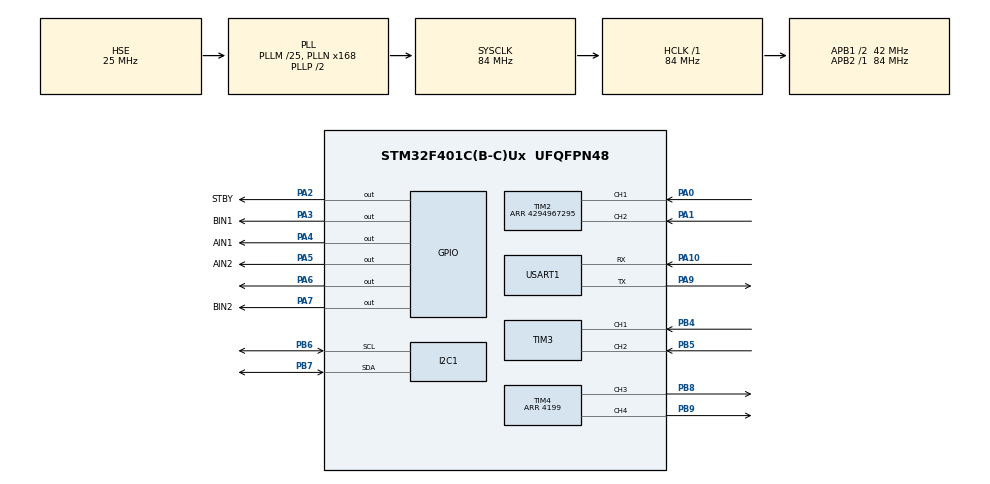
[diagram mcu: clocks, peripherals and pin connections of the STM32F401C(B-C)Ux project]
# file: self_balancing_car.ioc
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I2C1.I2C_Mode=I2C_Fast
Mcu.Family=STM32F4
Mcu.Name=STM32F401C(B-C)Ux
Mcu.Package=UFQFPN48
NVIC.PriorityGroup=NVIC_PRIORITYGROUP_4
NVIC.TIM1_UP_TIM10_IRQn=true\:0\:0\:false\:false\:true\:true\:true\:true
NVIC.USART1_IRQn=true\:0\:0\:false\:false\:true\:true\:true\:true
PA0-WKUP.Signal=S_TIM2_CH1_ETR
PA1.Signal=S_TIM2_CH2
PA10.Mode=Asynchronous
PA10.Signal=USART1_RX
PA13.Mode=Serial_Wire
PA13.Signal=SYS_JTMS-SWDIO
PA14.Mode=Serial_Wire
PA14.Signal=SYS_JTCK-SWCLK
PA4.GPIO_Label=AIN1
PA3.GPIO_Label=BIN1
PA3.Signal=GPIO_Output
PA4.Signal=GPIO_Output
PA5.GPIO_Label=AIN2
PA5.Signal=GPIO_Output
PA6.Signal=GPIO_Output
PA7.GPIO_Label=BIN2
PA7.Signal=GPIO_Output
PA9.Mode=Asynchronous
PA9.Signal=USART1_TX
PA2.GPIO_Label=STBY
PA2.Signal=GPIO_Output
PB4.Signal=S_TIM3_CH1
PB5.Signal=S_TIM3_CH2
PB6.Mode=I2C
PB6.Signal=I2C1_SCL
PB7.Mode=I2C
PB7.Signal=I2C1_SDA
PB8.Signal=S_TIM4_CH3
PB9.Signal=S_TIM4_CH4
PH0\ -\ OSC_IN.Mode=HSE-External-Oscillator
PH0\ -\ OSC_IN.Signal=RCC_OSC_IN
PH1\ -\ OSC_OUT.Mode=HSE-External-Oscillator
PH1\ -\ OSC_OUT.Signal=RCC_OSC_OUT
ProjectManager.HeapSize=0x800
ProjectManager.StackSize=0x1000
ProjectManager.TargetToolchain=CMake
RCC.48MHZClocksFreq_Value=42000000
RCC.AHBFreq_Value=84000000
RCC.APB1CLKDivider=RCC_HCLK_DIV2
RCC.APB1Freq_Value=42000000
RCC.APB1TimFreq_Value=84000000
RCC.APB2Freq_Value=84000000
RCC.APB2TimFreq_Value=84000000
RCC.CortexFreq_Value=84000000
RCC.HCLKFreq_Value=84000000
RCC.HSE_VALUE=25000000
RCC.HSI_VALUE=16000000
RCC.LSE_VALUE=32768
RCC.PLLM=25
RCC.PLLN=168
RCC.PLLSourceVirtual=RCC_PLLSOURCE_HSE
RCC.SYSCLKFreq_VALUE=84000000
RCC.SYSCLKSource=RCC_SYSCLKSOURCE_PLLCLK
RCC.VCOOutputFreq_Value=168000000
SH.S_TIM2_CH1_ETR.0=TIM2_CH1,Encoder_Interface
SH.S_TIM2_CH2.0=TIM2_CH2,Encoder_Interface
SH.S_TIM3_CH1.0=TIM3_CH1,Encoder_Interface
SH.S_TIM3_CH2.0=TIM3_CH2,Encoder_Interface
SH.S_TIM4_CH3.0=TIM4_CH3,PWM Generation3 CH3
SH.S_TIM4_CH4.0=TIM4_CH4,PWM Generation4 CH4
TIM10.Period=999
TIM10.Prescaler=839
TIM2.EncoderMode=TIM_ENCODERMODE_TI12
TIM2.IC1Filter=4
TIM2.IC2Filter=8
TIM2.Period=4294967295
TIM3.EncoderMode=TIM_ENCODERMODE_TI12
TIM3.IC1Filter=4
TIM3.IC2Filter=8
TIM4.AutoReloadPreload=TIM_AUTORELOAD_PRELOAD_ENABLE
TIM4.Channel-PWM\ Generation3\ CH3=TIM_CHANNEL_3
TIM4.Channel-PWM\ Generation4\ CH4=TIM_CHANNEL_4
TIM4.Period=4199
USART1.VirtualMode=VM_ASYNC
VP_TIM10_VS_ClockSourceINT.Mode=Enable_Timer
VP_TIM4_VS_ClockSourceINT.Mode=Internal
board=custom

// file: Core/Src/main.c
/* USER CODE BEGIN Header */
/**
  ******************************************************************************
  * @file           : main.c
  * @brief          : Main program body
  ******************************************************************************
  * @attention
  *
  * Copyright (c) 2026 STMicroelectronics.
  * All rights reserved.
  *
  * This software is licensed under terms that can be found in the LICENSE file
  * in the root directory of this software component.
  * If no LICENSE file comes with this software, it is provided AS-IS.
  *
  ******************************************************************************
  */
/* USER CODE END Header */
#include "main.h"
#include "i2c.h"
#include "tim.h"
#include "usart.h"
#include "gpio.h"

/* USER CODE BEGIN Includes */
#include "mpu6050_filter.h"
#include "motor_encoder.h"
#include "cascade_pid.h"
#include "robot_fsm.h"
#include "telemetry_uart.h"
#include "pid_AutoConfig.h"
#include "motor_test.h"
#include "uart_loopback_test.h"
/* USER CODE END Includes */

/* USER CODE BEGIN PD */
/* ==============================================================================
 * CHẾ ĐỘ CHẨN ĐOÁN & KIỂM TRA PHẦN CỨNG:
 *   RUN_UART_LOOPBACK_TEST:
 *     1: KÍCH HOẠT CHẾ ĐỘ LOOPBACK TEST CỔNG UART (PA9 nối PA10 bằng 1 sợi dây cắm)
 *        - STM32 tự phát PING, nếu toàn bộ tín hiệu nhận về là PING -> ĐÈN LED PC13 CHỚP LIÊN TỤC.
 *        - Rút dây ra -> ĐÈN LED TẮT NGÚM.
 *     0: Tắt chế độ test loopback (để xe chạy tự cân bằng bình thường).
 *
 *   RUN_MOTOR_TEST_MODE:
 *     1: Chế độ kiểm tra động cơ tự động 6 pha
 *     0: Tắt
 * ============================================================================== */
#define RUN_UART_LOOPBACK_TEST 0
#define RUN_MOTOR_TEST_MODE    0
/* USER CODE END PD */

/* USER CODE BEGIN PV */
volatile uint8_t g_control_tick_10ms_flag = 0;
/* USER CODE END PV */

void SystemClock_Config(void);

int main(void)
{

  /* USER CODE BEGIN 1 */
  /* Relocate Interrupt Vector Table to match WeAct HID Bootloader offset (0x08004000) */
  SCB->VTOR = FLASH_BASE;
  /* USER CODE END 1 */

  /* MCU Configuration--------------------------------------------------------*/

  /* Reset of all peripherals, Initializes the Flash interface and the Systick. */
  HAL_Init();

  /* Configure the system clock */
  SystemClock_Config();

  /* Initialize all configured peripherals */
  MX_GPIO_Init();
  MX_I2C1_Init();
  MX_TIM2_Init();
  MX_TIM3_Init();
  MX_TIM4_Init();
  MX_TIM10_Init();
  MX_USART1_UART_Init();
  /* USER CODE BEGIN 2 */
  /* Initialize Robot Control Modules */
  Board_LED_Init();
  CascadePID_Init();
  MotorEncoder_Init(&htim4, &htim2, &htim3);
  RobotFSM_Init(THETA_NORMAL_DEG, MAX_RECOVERY_ANGLE_DEG);
  Telemetry_Init(&huart1);

#if (RUN_UART_LOOPBACK_TEST == 1)
  /* Chạy chế độ Loopback Test cổng UART1 (PA9 nối PA10): Không cần cảm biến hay động cơ */
  UART_Loopback_Test_Run();
#endif

  /* Clear I2C bus to unfreeze MPU6050 in case of previous warm reset */
  HAL_I2C_DeInit(&hi2c1);
  MPU6050_I2C_BusClear();
  MX_I2C1_Init();

  /* Initialize and calibrate MPU6050 IMU */
  if (MPU6050_Init(&hi2c1) == HAL_OK)
  {
    Telemetry_SendString("[SYS] MPU6050: OK (WHO_AM_I verified)\n");
    MPU6050_Calibrate();
    Telemetry_SendString("[SYS] IMU Calibration: OK (Kalman ready)\n");
  }
  else
  {
    Telemetry_SendString("[ERR] MPU6050 Init FAILED! Check PB6/PB7 wiring & VCC\n");
  }

  /* Start 100Hz Control Loop Timer (10ms tick interrupt) */
  HAL_TIM_Base_Start_IT(&htim10);

  /* Enter Default Autonomous Balancing Mode (Auto engage when held upright +/-10 deg) */
  Motor_EnterMode_AUTO();
  Telemetry_SendString("\r\n[SYS] AUTONOMOUS SELF-BALANCING MODE READY:\r\n");
  Telemetry_SendString("  • Cascade PID balance active (Kp=65, Kd=1.3, Ki=0.08, Offset=+1.10 deg)\r\n");
  Telemetry_SendString("  • Place robot upright within +/-10 deg to engage balancing!\r\n");
  /* USER CODE END 2 */

  /* Infinite loop */
  /* USER CODE BEGIN WHILE */
  while (1)
  {
#if (RUN_MOTOR_TEST_MODE == 1)
    /* Chế độ kiểm tra động cơ tự động: Lặp lại chu trình 6 pha */
    Motor_RunAutoTestLoop();
#else
    /* Continuously process incoming UART packets for lowest command latency */
    Telemetry_ProcessIncoming();

    if (g_control_tick_10ms_flag)
    {
      g_control_tick_10ms_flag = 0;

      // 2. Read MPU6050 raw data and update Kalman filter estimate
      MPU6050_Update(CONTROL_DT_SEC);

      // 3. Read Encoders and calculate wheel velocities
      MotorEncoder_Update(CONTROL_DT_SEC);

      // 4. Update FSM State Machine & Cascade PID ONLY if user explicitly switched to AUTO mode
      int16_t pwm_left = 0;
      int16_t pwm_right = 0;
      const motor_encoder_data_t *enc_data = MotorEncoder_GetData();

      if (g_system_mode == SYS_MODE_AUTO)
      {
        RobotFSM_Update(MPU6050_GetPitch(), MPU6050_GetGyroRate(),
                        enc_data->speed_avg_mps, CONTROL_DT_SEC,
                        &pwm_left, &pwm_right);

        // 5. Output PWM to TB6612 Dual H-Bridge
        Motor_SetOutput(pwm_left, pwm_right);
      }

      // 6. Send Telemetry if streaming is active
      if (Telemetry_IsStreaming())
      {
        Telemetry_SendData(MPU6050_GetPitch(),
                           MPU6050_GetGyroRate(),
                           (int16_t)((pwm_left + pwm_right) / 2),
                           enc_data->total_pulses_left,
                           enc_data->total_pulses_right,
                           (uint8_t)RobotFSM_GetState());
      }

      // 7. Visual LED Heartbeat (Skip if user activated manual LED control via BLE)
      static uint32_t s_heartbeat_cnt = 0;
      s_heartbeat_cnt++;
      if (!g_led_manual_mode)
      {
        if (MPU6050_IsConnected())
        {
          if (s_heartbeat_cnt % 50 == 0) // 1Hz normal heartbeat
          {
            Board_LED_Toggle();
          }
        }
        else
        {
          if (s_heartbeat_cnt % 10 == 0) // 5Hz fast error blink
          {
            Board_LED_Toggle();
          }
        }
      }
    }
#endif
    /* USER CODE END WHILE */

  }
}

void SystemClock_Config(void)
{
  RCC_OscInitTypeDef RCC_OscInitStruct = {0};
  RCC_ClkInitTypeDef RCC_ClkInitStruct = {0};

  /** Configure the main internal regulator output voltage
  */
  __HAL_RCC_PWR_CLK_ENABLE();
  __HAL_PWR_VOLTAGESCALING_CONFIG(PWR_REGULATOR_VOLTAGE_SCALE2);

  /** Initializes the RCC Oscillators according to the specified parameters
  * in the RCC_OscInitTypeDef structure.
  */
  RCC_OscInitStruct.OscillatorType = RCC_OSCILLATORTYPE_HSE;
  RCC_OscInitStruct.HSEState = RCC_HSE_ON;
  RCC_OscInitStruct.PLL.PLLState = RCC_PLL_ON;
  RCC_OscInitStruct.PLL.PLLSource = RCC_PLLSOURCE_HSE;
  RCC_OscInitStruct.PLL.PLLM = 25;
  RCC_OscInitStruct.PLL.PLLN = 168;
  RCC_OscInitStruct.PLL.PLLP = RCC_PLLP_DIV2;
  RCC_OscInitStruct.PLL.PLLQ = 4;
  if (HAL_RCC_OscConfig(&RCC_OscInitStruct) != HAL_OK)
  {
    Error_Handler();
  }

  /** Initializes the CPU, AHB and APB buses clocks
  */
  RCC_ClkInitStruct.ClockType = RCC_CLOCKTYPE_HCLK|RCC_CLOCKTYPE_SYSCLK
                              |RCC_CLOCKTYPE_PCLK1|RCC_CLOCKTYPE_PCLK2;
  RCC_ClkInitStruct.SYSCLKSource = RCC_SYSCLKSOURCE_PLLCLK;
  RCC_ClkInitStruct.AHBCLKDivider = RCC_SYSCLK_DIV1;
  RCC_ClkInitStruct.APB1CLKDivider = RCC_HCLK_DIV2;
  RCC_ClkInitStruct.APB2CLKDivider = RCC_HCLK_DIV1;

  if (HAL_RCC_ClockConfig(&RCC_ClkInitStruct, FLASH_LATENCY_2) != HAL_OK)
  {
    Error_Handler();
  }
}

/* USER CODE BEGIN 4 */
/**
  * @brief  Period elapsed callback in non blocking mode
  * @param  htim : TIM handle
  * @retval None
  */
void HAL_TIM_PeriodElapsedCallback(TIM_HandleTypeDef *htim)
{
  if (htim->Instance == TIM10)
  {
    g_control_tick_10ms_flag = 1;
  }
}
/* USER CODE END 4 */

void Error_Handler(void)
{
  __disable_irq();
  while (1)
  {
  }
}
